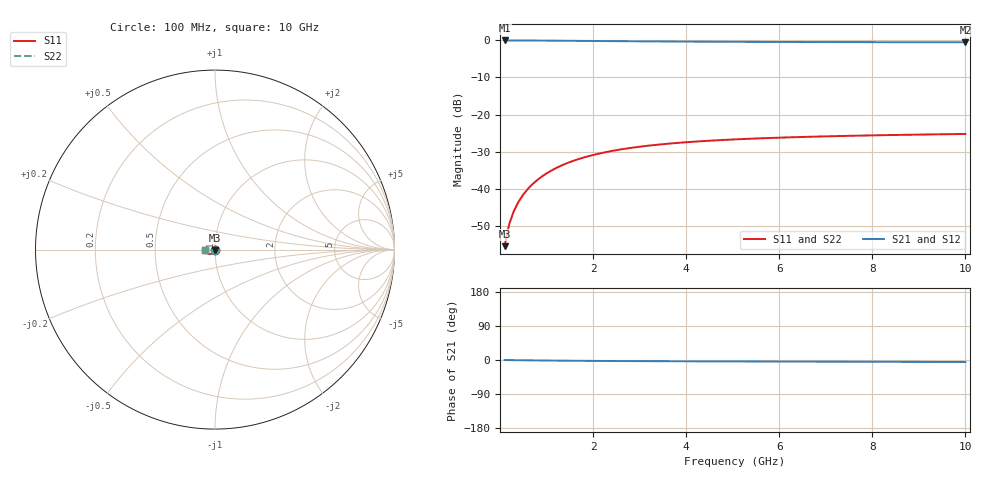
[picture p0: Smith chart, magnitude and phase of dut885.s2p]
! Touchstone file exported from HFSS 2024.1.0
!  File:  C:/UserFiles/LocalFiles/RDL_TSV_Batchsim/temp_TSV1_885_1779884312.aedt
!  Generated:  08:25:26 PM May 27, 2026
!  Design:  TSV1
!  Project:  temp_TSV1_885_1779884312
!  Setup:  Setup1
!  Solution:  Sweep
! Variables:
!  dtsv = 13.54um
!  hbump = 3um
!  htsv = 81.18um
!  lrdl = 252.1521522um
!  p = 40
!  p1 = 56.61um
!  t = 500um
!  trdl = 3um
!  wrdl = 24.89489489um
# GHz S MA R 50.000000
! Terminal data exported
! Port[1] = TSV22_T1
! Port[2] = TSV22_T2
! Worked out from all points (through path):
!   100 points, 100 MHz to 10 GHz, reference 50 ohm
!   highest |S21| = 0.00 dB at 100 MHz (marker M1); lowest = -0.5 dB at 10 GHz (marker M2)
!   lowest |S11| = -55.6 dB at 100 MHz (marker M3), VSWR 1.00, Z = 50 - j0.167 ohm
!   |S11| at or under -10 dB: start of sweep to end of sweep
!   |S22| runs from -55.6 to -25.3 dB; largest |S21 - S12| = 2.3e-15
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0.1  0.001667 -89.0  0.9999 -0.1  0.9999 -0.1  0.001667 -89.0
! Gamma 0 0 0 0
! Port Impedance 50 0 50 0
0.2  0.003331 -92.2  0.9997 -0.3  0.9997 -0.3  0.003331 -92.2
0.3  0.004991 -94.6  0.9994 -0.4  0.9994 -0.4  0.004991 -94.6
0.4  0.006641 -96.7  0.999 -0.6  0.999 -0.6  0.006641 -96.7
0.5  0.008274 -98.7  0.9985 -0.7  0.9985 -0.7  0.008274 -98.7
0.6  0.009884 -100.7  0.9979 -0.9  0.9979 -0.9  0.009884 -100.7
0.7  0.01147 -102.7  0.9972 -1.0  0.9972 -1.0  0.01147 -102.7
0.8  0.01301 -104.6  0.9964 -1.1  0.9964 -1.1  0.01301 -104.6
0.9  0.01453 -106.5  0.9956 -1.3  0.9956 -1.3  0.01453 -106.5
1.1  0.01744 -110.1  0.9938 -1.5  0.9938 -1.5  0.01744 -110.1
1.4  0.02149 -115.2  0.9907 -1.8  0.9907 -1.8  0.02149 -115.2
1.6  0.02397 -118.4  0.9885 -2.0  0.9885 -2.0  0.02397 -118.4
1.8  0.02626 -121.4  0.9862 -2.2  0.9862 -2.2  0.02626 -121.4
2.1  0.02938 -125.7  0.9829 -2.4  0.9829 -2.4  0.02938 -125.7
2.5  0.03299 -130.8  0.9785 -2.7  0.9785 -2.7  0.03299 -130.8
2.9  0.03603 -135.4  0.9745 -2.9  0.9745 -2.9  0.03603 -135.4
3.4  0.03918 -140.5  0.9699 -3.2  0.9699 -3.2  0.03918 -140.5
4.2  0.04307 -147.3  0.9639 -3.5  0.9639 -3.5  0.04307 -147.3
5.1  0.04627 -153.6  0.9586 -3.8  0.9586 -3.8  0.04627 -153.6
6.7  0.05013 -162.4  0.952 -4.3  0.952 -4.3  0.05013 -162.4
8.4  0.05279 -169.7  0.9474 -4.8  0.9474 -4.8  0.05279 -169.7
10  0.05459 -175.3  0.9445 -5.3  0.9445 -5.3  0.05459 -175.3
